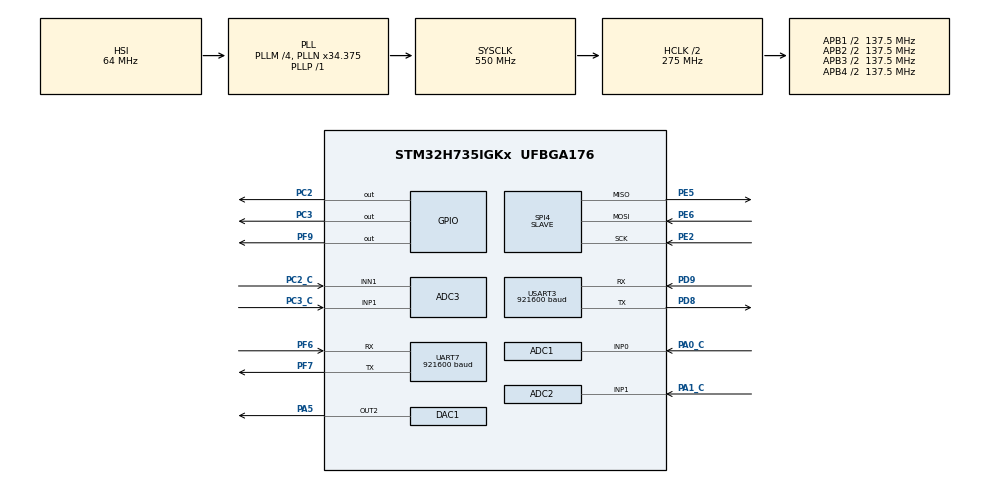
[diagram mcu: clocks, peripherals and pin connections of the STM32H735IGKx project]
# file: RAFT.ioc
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ADC1.Channel-3\#ChannelRegularConversion=ADC_CHANNEL_0
ADC1.ClockPrescalerADC3=ADC_CLOCK_ASYNC_DIV2
ADC1.ContinuousConvMode=ENABLE
ADC1.ConversionDataManagement=ADC_CONVERSIONDATA_DMA_CIRCULAR
ADC1.ExternalTrigConv=ADC_EXTERNALTRIG_T2_TRGO
ADC1.Mode=ADC_DUALMODE_REGSIMULT
ADC1.NbrOfConversion=1
ADC1.NbrOfConversionFlag=1
ADC1.OffsetNumber-3\#ChannelRegularConversion=ADC_OFFSET_NONE
ADC1.OffsetSignedSaturation-3\#ChannelRegularConversion=DISABLE
ADC1.Rank-3\#ChannelRegularConversion=1
ADC1.Resolution=ADC_RESOLUTION_14B
ADC1.SamplingTime-3\#ChannelRegularConversion=ADC_SAMPLETIME_1CYCLE_5
ADC1.master=1
ADC2.Channel-2\#ChannelRegularConversion=ADC_CHANNEL_1
ADC2.ConversionDataManagement=ADC_CONVERSIONDATA_DMA_CIRCULAR
ADC2.Mode=ADC_DUALMODE_REGSIMULT
ADC2.NbrOfConversionFlag=1
ADC2.OffsetNumber-2\#ChannelRegularConversion=ADC_OFFSET_NONE
ADC2.OffsetSignedSaturation-2\#ChannelRegularConversion=DISABLE
ADC2.Rank-2\#ChannelRegularConversion=1
ADC2.SamplingTime-2\#ChannelRegularConversion=ADC_SAMPLETIME_1CYCLE_5
ADC3.Channel-1\#ChannelRegularConversion=ADC_CHANNEL_1
ADC3.ClockPrescalerADC3=ADC_CLOCK_ASYNC_DIV2
ADC3.ContinuousConvMode=ENABLE
ADC3.ConversionDataManagement=ADC_CONVERSIONDATA_DMA_CIRCULAR
ADC3.DMAContinuousRequests=ENABLE
ADC3.ExternalTrigConv=ADC_EXTERNALTRIG_T2_TRGO
ADC3.Mode=ADC_DUALMODE_REGSIMULT
ADC3.NbrOfConversionFlag=1
ADC3.OffsetNumber-1\#ChannelRegularConversion=ADC_OFFSET_NONE
ADC3.OffsetSign-1\#ChannelRegularConversion=ADC3_OFFSET_SIGN_NEGATIVE
ADC3.Rank-1\#ChannelRegularConversion=1
ADC3.SamplingTime-1\#ChannelRegularConversion=ADC3_SAMPLETIME_2CYCLES_5
ADC3.SingleDiff-1\#ChannelRegularConversion=ADC_DIFFERENTIAL_ENDED
DAC1.DAC_Channel-DAC_OUT2=DAC_CHANNEL_2
Dma.ADC1.1.Direction=DMA_PERIPH_TO_MEMORY
Dma.ADC1.1.EventEnable=DISABLE
Dma.ADC1.1.FIFOMode=DMA_FIFOMODE_DISABLE
Dma.ADC1.1.Instance=DMA1_Stream0
Dma.ADC1.1.MemDataAlignment=DMA_MDATAALIGN_WORD
Dma.ADC1.1.MemInc=DMA_MINC_ENABLE
Dma.ADC1.1.Mode=DMA_CIRCULAR
Dma.ADC1.1.PeriphDataAlignment=DMA_PDATAALIGN_WORD
Dma.ADC1.1.PeriphInc=DMA_PINC_DISABLE
Dma.ADC1.1.Polarity=HAL_DMAMUX_REQ_GEN_RISING
Dma.ADC1.1.Priority=DMA_PRIORITY_LOW
Dma.ADC1.1.RequestNumber=1
Dma.ADC1.1.SignalID=NONE
Dma.ADC1.1.SyncEnable=DISABLE
Dma.ADC1.1.SyncPolarity=HAL_DMAMUX_SYNC_NO_EVENT
Dma.ADC1.1.SyncRequestNumber=1
Dma.ADC1.1.SyncSignalID=NONE
Dma.ADC2.3.Direction=DMA_PERIPH_TO_MEMORY
Dma.ADC2.3.EventEnable=DISABLE
Dma.ADC2.3.FIFOMode=DMA_FIFOMODE_DISABLE
Dma.ADC2.3.Instance=DMA1_Stream3
Dma.ADC2.3.MemDataAlignment=DMA_MDATAALIGN_WORD
Dma.ADC2.3.MemInc=DMA_MINC_ENABLE
Dma.ADC2.3.Mode=DMA_NORMAL
Dma.ADC2.3.PeriphDataAlignment=DMA_PDATAALIGN_WORD
Dma.ADC2.3.PeriphInc=DMA_PINC_DISABLE
Dma.ADC2.3.Polarity=HAL_DMAMUX_REQ_GEN_RISING
Dma.ADC2.3.Priority=DMA_PRIORITY_LOW
Dma.ADC2.3.RequestNumber=1
Dma.ADC2.3.SignalID=NONE
Dma.ADC2.3.SyncEnable=DISABLE
Dma.ADC2.3.SyncPolarity=HAL_DMAMUX_SYNC_NO_EVENT
Dma.ADC2.3.SyncRequestNumber=1
Dma.ADC2.3.SyncSignalID=NONE
Dma.ADC3.2.Direction=DMA_PERIPH_TO_MEMORY
Dma.ADC3.2.EventEnable=DISABLE
Dma.ADC3.2.FIFOMode=DMA_FIFOMODE_DISABLE
Dma.ADC3.2.Instance=DMA1_Stream2
Dma.ADC3.2.MemDataAlignment=DMA_MDATAALIGN_WORD
Dma.ADC3.2.MemInc=DMA_MINC_ENABLE
Dma.ADC3.2.Mode=DMA_CIRCULAR
Dma.ADC3.2.PeriphDataAlignment=DMA_PDATAALIGN_WORD
Dma.ADC3.2.PeriphInc=DMA_PINC_DISABLE
Dma.ADC3.2.Polarity=HAL_DMAMUX_REQ_GEN_RISING
Dma.ADC3.2.Priority=DMA_PRIORITY_LOW
Dma.ADC3.2.RequestNumber=1
Dma.ADC3.2.SignalID=NONE
Dma.ADC3.2.SyncEnable=DISABLE
Dma.ADC3.2.SyncPolarity=HAL_DMAMUX_SYNC_NO_EVENT
Dma.ADC3.2.SyncRequestNumber=1
Dma.ADC3.2.SyncSignalID=NONE
Dma.HASH_IN.0.Direction=DMA_MEMORY_TO_PERIPH
Dma.HASH_IN.0.EventEnable=DISABLE
Dma.HASH_IN.0.FIFOMode=DMA_FIFOMODE_DISABLE
Dma.HASH_IN.0.Instance=DMA1_Stream1
Dma.HASH_IN.0.MemDataAlignment=DMA_MDATAALIGN_WORD
Dma.HASH_IN.0.MemInc=DMA_MINC_ENABLE
Dma.HASH_IN.0.Mode=DMA_NORMAL
Dma.HASH_IN.0.PeriphDataAlignment=DMA_PDATAALIGN_WORD
Dma.HASH_IN.0.PeriphInc=DMA_PINC_DISABLE
Dma.HASH_IN.0.Polarity=HAL_DMAMUX_REQ_GEN_RISING
Dma.HASH_IN.0.Priority=DMA_PRIORITY_LOW
Dma.HASH_IN.0.RequestNumber=1
Dma.HASH_IN.0.SignalID=NONE
Dma.HASH_IN.0.SyncEnable=DISABLE
Dma.HASH_IN.0.SyncPolarity=HAL_DMAMUX_SYNC_NO_EVENT
Dma.HASH_IN.0.SyncRequestNumber=1
Dma.HASH_IN.0.SyncSignalID=NONE
Dma.Request0=HASH_IN
Dma.Request1=ADC1
Dma.Request2=ADC3
Dma.Request3=ADC2
HASH.SecureHashAlgorithmType=SHA256
HASH.pKey=__NULL
Mcu.Family=STM32H7
Mcu.Name=STM32H735IGKx
Mcu.Package=UFBGA176
NVIC.DMA1_Stream0_IRQn=true\:0\:0\:false\:false\:true\:false\:true\:true
NVIC.DMA1_Stream1_IRQn=true\:0\:0\:false\:false\:true\:false\:true\:true
NVIC.DMA1_Stream2_IRQn=true\:0\:0\:false\:false\:true\:false\:true\:true
NVIC.DMA1_Stream3_IRQn=true\:0\:0\:false\:false\:true\:false\:true\:true
NVIC.PriorityGroup=NVIC_PRIORITYGROUP_4
NVIC.TIM2_IRQn=true\:0\:0\:false\:false\:true\:true\:true\:true
NVIC.TIM3_IRQn=true\:0\:0\:false\:false\:true\:true\:true\:true
PA0_C.Signal=ADCx_INP0
PA1_C.Signal=ADCx_INP1
PA5.Signal=COMP_DAC12_group
PC2.Signal=GPIO_Output
PC2_C.Mode=IN1-Differential
PC2_C.Signal=ADC3_INN1
PC3.Signal=GPIO_Output
PC3_C.Mode=IN1-Differential
PC3_C.Signal=ADC3_INP1
PD8.Mode=Asynchronous
PD8.Signal=USART3_TX
PD9.Mode=Asynchronous
PD9.Signal=USART3_RX
PE2.Mode=Full_Duplex_Slave
PE2.Signal=SPI4_SCK
PE5.Mode=Full_Duplex_Slave
PE5.Signal=SPI4_MISO
PE6.Mode=Full_Duplex_Slave
PE6.Signal=SPI4_MOSI
PF6.Mode=Asynchronous
PF6.Signal=UART7_RX
PF7.Mode=Asynchronous
PF7.Signal=UART7_TX
PF9.Signal=GPIO_Output
ProjectManager.HeapSize=0x200
ProjectManager.StackSize=0x400
ProjectManager.TargetToolchain=STM32CubeIDE
RCC.ADCFreq_Value=96000000
RCC.APB1Freq_Value=137500000
RCC.APB2Freq_Value=137500000
RCC.APB3Freq_Value=137500000
RCC.APB4Freq_Value=137500000
RCC.CortexFreq_Value=550000000
RCC.D1PPRE=RCC_APB3_DIV2
RCC.D2PPRE1=RCC_APB1_DIV2
RCC.D2PPRE2=RCC_APB2_DIV2
RCC.D3PPRE=RCC_APB4_DIV2
RCC.DIVM1=4
RCC.DIVM2=4
RCC.DIVM3=4
RCC.DIVN1=34
RCC.DIVN2=12
RCC.DIVN3=12
RCC.DIVP1=1
RCC.DIVQ3=1
RCC.HCLKFreq_Value=275000000
RCC.HPRE=RCC_HCLK_DIV2
RCC.PLL2FRACN=0
RCC.PLL3FRACN=0
RCC.PLLFRACN=3072
RCC.SYSCLKFreq_VALUE=550000000
RCC.SYSCLKSource=RCC_SYSCLKSOURCE_PLLCLK
RCC.Spi45ClockSelection=RCC_SPI45CLKSOURCE_PLL3
RCC.SupplySource=PWR_DIRECT_SMPS_SUPPLY
RCC.USBCLockSelection=RCC_USBCLKSOURCE_HSI48
RCC.USBFreq_Value=48000000
SH.ADCx_INP0.0=ADC1_INP0,IN0-Single-Ended
SH.ADCx_INP1.0=ADC2_INP1,IN1-Single-Ended
SH.COMP_DAC12_group.0=DAC1_OUT2,DAC_OUT2
SPI4.Direction=SPI_DIRECTION_2LINES
SPI4.Mode=SPI_MODE_SLAVE
SPI4.VirtualType=VM_SLAVE
TIM2.AutoReloadPreload=TIM_AUTORELOAD_PRELOAD_ENABLE
TIM2.Period=65535
TIM2.Prescaler=1
TIM2.TIM_MasterOutputTrigger=TIM_TRGO_UPDATE
TIM3.AutoReloadPreload=TIM_AUTORELOAD_PRELOAD_ENABLE
TIM3.Prescaler=10
TIM4.AutoReloadPreload=TIM_AUTORELOAD_PRELOAD_ENABLE
TIM4.Prescaler=10
UART7.BaudRate=921600
USART3.BaudRate=921600
USART3.VirtualMode-Asynchronous=VM_ASYNC
VP_HASH_VS_HASH.Mode=HASH_Activate
VP_MEMORYMAP_VS_MEMORYMAP.Mode=CurAppReg
VP_TIM2_VS_ClockSourceINT.Mode=Internal
VP_TIM3_VS_ClockSourceINT.Mode=Internal
VP_TIM4_VS_ClockSourceINT.Mode=Internal
VREF+.Mode=InternalMode
VREF+.Signal=VREFBUF_OUT
VREFBUF.VoltageScaling=SYSCFG_VREFBUF_VOLTAGE_SCALE2
board=STM32H735G-DK

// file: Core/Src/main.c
/* USER CODE BEGIN Header */
/**
  ******************************************************************************
  * @file           : main.c
  * @brief          : Main program body
  ******************************************************************************
  * @attention
  *
  * Copyright (c) 2024 STMicroelectronics.
  * All rights reserved.
  *
  * This software is licensed under terms that can be found in the LICENSE file
  * in the root directory of this software component.
  * If no LICENSE file comes with this software, it is provided AS-IS.
  *
  ******************************************************************************
  */
/* USER CODE END Header */
#include "main.h"

/* USER CODE BEGIN Includes */

#include "common.h"

/* USER CODE END Includes */

/* USER CODE BEGIN PD */

#ifndef HSEM_ID_0
#define HSEM_ID_0 (0U) /* HW semaphore 0*/
#endif
/* USER CODE END PD */

ADC_HandleTypeDef hadc1;
ADC_HandleTypeDef hadc2;
ADC_HandleTypeDef hadc3;
DMA_HandleTypeDef hdma_adc1;
DMA_HandleTypeDef hdma_adc2;
DMA_HandleTypeDef hdma_adc3;

DAC_HandleTypeDef hdac1;

HASH_HandleTypeDef hhash;
DMA_HandleTypeDef hdma_hash_in;

SPI_HandleTypeDef hspi4;

TIM_HandleTypeDef htim2;
TIM_HandleTypeDef htim3;
TIM_HandleTypeDef htim4;

UART_HandleTypeDef huart7;
UART_HandleTypeDef huart3;

/* USER CODE BEGIN PV */

#define SPI_TRANSFER_COMPLETE 1
#define SPI_TRANSFER_WAIT 2
#define SPI_ERROR 3

uint8_t spi_transfer_state = SPI_TRANSFER_WAIT ;

static uint16_t adc_buffer_size_watch;

uint16_t ADC1_reading =0;
uint16_t ADC2_reading =0;

HASH_HandleTypeDef hhash;

#define FIXED_FRAME_SZIE 4096
uint8_t fixed_frame[FIXED_FRAME_SZIE];
uint8_t input_message_buffer[65535] ={0x5,0x6 ,0x8,0XFF,0XFF,0XFF,0XFF,0XFF,0XFF,0XFF,0XFF,0XFF};
uint8_t message_digest[64]={0};
HAL_StatusTypeDef HAL_status;
//HAL_StatusTypeDef spi_status;
#define TX_SIZE 2048
  uint8_t TxData[TX_SIZE];
  uint8_t start_byte =START_BYTE;
  uint8_t stop_byte  =END_BYTE;
uint8_t HAL_error_status = 0;

#define RAW_DATA

/* USER CODE END PV */

void SystemClock_Config(void);
void PeriphCommonClock_Config(void);
static void MX_GPIO_Init(void);
static void MX_DMA_Init(void);
static void MX_ADC1_Init(void);
static void MX_HASH_Init(void);
static void MX_TIM2_Init(void);
static void MX_UART7_Init(void);
static void MX_ADC3_Init(void);
static void MX_USART3_UART_Init(void);
static void MX_DAC1_Init(void);
static void MX_TIM3_Init(void);
static void MX_SPI4_Init(void);
static void MX_ADC2_Init(void);
static void MX_TIM4_Init(void);
/* USER CODE BEGIN PFP */

void HAL_HASH_MspInit(HASH_HandleTypeDef *hhash);
void HASH_Init();
void my_HAL_HASH_InCpltCallback (HASH_HandleTypeDef * hhash);
void HAL_DMA_ConvCpltCallback(DMA_HandleTypeDef *hdma);
void my_HAL_HASH_DgstCpltCallback (HASH_HandleTypeDef * hhash);
//void HAl_TIM_intit();
void GPIO_INIT();
void MY_USART1_USART_Init(void);
int8_t CDC_is_busy(void);
void start_ADCS();

/* USER CODE END PFP */

int main(void)
{

  /* USER CODE BEGIN 1 */

#ifdef HAHSED_DATA
	uint16_t input_vector[96]={0};
	uint16_t input_vector_size_in_bytes =0;
#endif

  /* USER CODE END 1 */

  /* MCU Configuration--------------------------------------------------------*/

  /* Reset of all peripherals, Initializes the Flash interface and the Systick. */
  HAL_Init();

  /* Configure the system clock */
  SystemClock_Config();

  /* Configure the peripherals common clocks */
  PeriphCommonClock_Config();

  /* USER CODE BEGIN SysInit */

GPIO_INIT();
//HAl_TIM_intit();
//HASH_Init();

  /* USER CODE END SysInit */

  /* Initialize all configured peripherals */
  MX_GPIO_Init();
  MX_DMA_Init();
  MX_ADC1_Init();
  MX_HASH_Init();
  MX_TIM2_Init();
  MX_UART7_Init();
  MX_ADC3_Init();
  MX_USART3_UART_Init();
  MX_DAC1_Init();
  MX_TIM3_Init();
  MX_SPI4_Init();
  MX_ADC2_Init();
  MX_TIM4_Init();
  /* USER CODE BEGIN 2 */
HAL_GPIO_WritePin(GPIOK, GPIO_PIN_3,GPIO_PIN_SET);
HAL_GPIO_WritePin(GPIOK, GPIO_PIN_4,GPIO_PIN_SET);

// set the SPI Test fixed frame

uint16_t DAC_set_value =0;

fixed_frame[0]= 0xAA;
fixed_frame[FIXED_FRAME_SZIE-1]=0xCC;

uart_frame[0] = 0xAA;
uart_frame[1] = 0xAA;
uart_frame[ADC_TRANSFER_SIZE+2] = 0xCC;
uart_frame[ADC_TRANSFER_SIZE+3] = 0xCC;
//for (int i = FIXED_FRAME_SZIE-2; i >= 1; i--) {
//
//	fixed_frame[i] =0xFF;
//
//  }

// register the SPI callbaks
//HAL_SPI_RegisterCallback(&hspi5, HAL_SPI_TX_COMPLETE_CB_ID , HAL_SPI_TxCpltCallback);
//HAL_SPI_RegisterCallback(&hspi5,   HAL_SPI_ERROR_CB_ID  , HAL_SPI_ErrorCallback);

if (HAL_TIM_Base_Start_IT(&htim3) != HAL_OK) {
    Error_Handler();
}
start_ADCS();

  /* USER CODE END 2 */

  /* Infinite loop */
  while (1)
  {

    /* USER CODE BEGIN 3 */

//	  	 HAL_GPIO_WritePin(GPIOK, GPIO_PIN_0,GPIO_PIN_SET);

//	 	 HAL_GPIO_WritePin(GPIOK, GPIO_PIN_0,GPIO_PIN_RESET);

#ifdef HAHSED_DATA

          // accumulate entropy and create input vector and calculate it's size
	 	  input_vector_size_in_bytes = Create_Input_Vector(input_vector);

	 	  // clean cache of the source(input_vector) into the memory before DMA transfer
	 	  SCB_CleanDCache_by_Addr((uint32_t*)input_vector, input_vector_size_in_bytes);

          // start DMA transfer from input vector into the HASH processor and intiate the hashing
	 	  HAL_status= HAL_HASHEx_SHA256_Start_DMA(&hhash, (uint8_t*)input_vector,input_vector_size_in_bytes);

	 	  //Retreive calculated digest from the HASH registers into the processed data buffer
	 	  HAL_status = HAL_HASHEx_SHA256_Finish (&hhash,current_post_processed_data_ptr,100);

	 	  // increment the buffer pointer to point to the next available space in the buffer for the new digest to come
	 	  current_post_processed_data_ptr += OUTPUT_PACKET_SIZE;

	 	 //check if you filled the whole buffer(reached it's end ) then send data through high speed USB and reset the pointer to point to the start of the buffer
	 	 if(current_post_processed_data_ptr>= (post_processed_data_buffer+post_processed_data_buffer_size) ){

	 		 		 	 HAL_SPI_Transmit_DMA ( &hspi5,post_processed_data_buffer,post_processed_data_buffer_size);
	 		 		 	 current_post_processed_data_ptr =post_processed_data_buffer;
	 		 		}

	 	  HAL_GPIO_WritePin(GPIOK, GPIO_PIN_3, RESET);

#endif

//	 	 if (CDC_is_busy() == 0)
//	 	 	{
//
//	 	 CDC_Transmit_HS(input_message_buffer,65535);
//
//	 	 	}

#ifdef RAW_DATA

	 		buffer_copy(uart_frame+2 ,(uint8_t*)ADC_buffer_entropy,ADC_TRANSFER_SIZE);
	 		HAL_UART_Transmit (&huart7,uart_frame ,UART_FRAME_SIZE,100);
//	 		HAL_UART_Transmit (&huart3,uart_frame ,UART_FRAME_SIZE,100);
	 		HAL_Delay(10);

////if(ADC_buffer_status == ADC_BUFFER_READY /*&& CDC_is_busy() == 0*/){
////
////         ADC_buffer_status = ADC_BUFFER_EMPTY;
	 // 	 CDC_Transmit_HS((uint8_t*)ADC_buffer,sizeof(ADC_buffer));dM
//                spi_transfer_state =SPI_TRANSFER_WAIT;
//                HAL_status = HAL_SPI_Transmit_DMA (&hspi5,(uint8_t*)fixed_frame,FIXED_FRAME_SZIE);
//                while (spi_transfer_state != SPI_TRANSFER_COMPLETE){
//
//                	// DO nothing , wait for SPI tansfer to finish ..
//                }
////                 if(HAL_status!= HAL_OK){
//               	 Error_Handler();
//                }
//                 if (hspi5.ErrorCode != HAL_SPI_ERROR_NONE){
//                	 Error_Handler();
//                 }
//            	 HAL_GPIO_TogglePin(GPIOF, GPIO_PIN_7);
//            	 HAL_Delay(10);

//}
#endif

  }
  /* USER CODE END 3 */
}

void SystemClock_Config(void)
{
  RCC_OscInitTypeDef RCC_OscInitStruct = {0};
  RCC_ClkInitTypeDef RCC_ClkInitStruct = {0};

  /** Supply configuration update enable
  */
  HAL_PWREx_ConfigSupply(PWR_DIRECT_SMPS_SUPPLY);

  /** Configure the main internal regulator output voltage
  */
  __HAL_PWR_VOLTAGESCALING_CONFIG(PWR_REGULATOR_VOLTAGE_SCALE0);

  while(!__HAL_PWR_GET_FLAG(PWR_FLAG_VOSRDY)) {}

  /** Initializes the RCC Oscillators according to the specified parameters
  * in the RCC_OscInitTypeDef structure.
  */
  RCC_OscInitStruct.OscillatorType = RCC_OSCILLATORTYPE_HSI;
  RCC_OscInitStruct.HSIState = RCC_HSI_DIV1;
  RCC_OscInitStruct.HSICalibrationValue = 64;
  RCC_OscInitStruct.PLL.PLLState = RCC_PLL_ON;
  RCC_OscInitStruct.PLL.PLLSource = RCC_PLLSOURCE_HSI;
  RCC_OscInitStruct.PLL.PLLM = 4;
  RCC_OscInitStruct.PLL.PLLN = 34;
  RCC_OscInitStruct.PLL.PLLP = 1;
  RCC_OscInitStruct.PLL.PLLQ = 2;
  RCC_OscInitStruct.PLL.PLLR = 2;
  RCC_OscInitStruct.PLL.PLLRGE = RCC_PLL1VCIRANGE_3;
  RCC_OscInitStruct.PLL.PLLVCOSEL = RCC_PLL1VCOWIDE;
  RCC_OscInitStruct.PLL.PLLFRACN = 3072;
  if (HAL_RCC_OscConfig(&RCC_OscInitStruct) != HAL_OK)
  {
    Error_Handler();
  }

  /** Initializes the CPU, AHB and APB buses clocks
  */
  RCC_ClkInitStruct.ClockType = RCC_CLOCKTYPE_HCLK|RCC_CLOCKTYPE_SYSCLK
                              |RCC_CLOCKTYPE_PCLK1|RCC_CLOCKTYPE_PCLK2
                              |RCC_CLOCKTYPE_D3PCLK1|RCC_CLOCKTYPE_D1PCLK1;
  RCC_ClkInitStruct.SYSCLKSource = RCC_SYSCLKSOURCE_PLLCLK;
  RCC_ClkInitStruct.SYSCLKDivider = RCC_SYSCLK_DIV1;
  RCC_ClkInitStruct.AHBCLKDivider = RCC_HCLK_DIV2;
  RCC_ClkInitStruct.APB3CLKDivider = RCC_APB3_DIV2;
  RCC_ClkInitStruct.APB1CLKDivider = RCC_APB1_DIV2;
  RCC_ClkInitStruct.APB2CLKDivider = RCC_APB2_DIV2;
  RCC_ClkInitStruct.APB4CLKDivider = RCC_APB4_DIV2;

  if (HAL_RCC_ClockConfig(&RCC_ClkInitStruct, FLASH_LATENCY_3) != HAL_OK)
  {
    Error_Handler();
  }
}

void PeriphCommonClock_Config(void)
{
  RCC_PeriphCLKInitTypeDef PeriphClkInitStruct = {0};

  /** Initializes the peripherals clock
  */
  PeriphClkInitStruct.PeriphClockSelection = RCC_PERIPHCLK_ADC;
  PeriphClkInitStruct.PLL2.PLL2M = 4;
  PeriphClkInitStruct.PLL2.PLL2N = 12;
  PeriphClkInitStruct.PLL2.PLL2P = 2;
  PeriphClkInitStruct.PLL2.PLL2Q = 2;
  PeriphClkInitStruct.PLL2.PLL2R = 2;
  PeriphClkInitStruct.PLL2.PLL2RGE = RCC_PLL2VCIRANGE_3;
  PeriphClkInitStruct.PLL2.PLL2VCOSEL = RCC_PLL2VCOWIDE;
  PeriphClkInitStruct.PLL2.PLL2FRACN = 0;
  PeriphClkInitStruct.AdcClockSelection = RCC_ADCCLKSOURCE_PLL2;
  if (HAL_RCCEx_PeriphCLKConfig(&PeriphClkInitStruct) != HAL_OK)
  {
    Error_Handler();
  }
}

static void MX_ADC1_Init(void)
{

  ADC_MultiModeTypeDef multimode = {0};
  ADC_ChannelConfTypeDef sConfig = {0};

  /** Common config
  */
  hadc1.Instance = ADC1;
  hadc1.Init.ClockPrescaler = ADC_CLOCK_ASYNC_DIV1;
  hadc1.Init.Resolution = ADC_RESOLUTION_14B;
  hadc1.Init.ScanConvMode = ADC_SCAN_DISABLE;
  hadc1.Init.EOCSelection = ADC_EOC_SINGLE_CONV;
  hadc1.Init.LowPowerAutoWait = DISABLE;
  hadc1.Init.ContinuousConvMode = ENABLE;
  hadc1.Init.NbrOfConversion = 1;
  hadc1.Init.DiscontinuousConvMode = DISABLE;
  hadc1.Init.ExternalTrigConv = ADC_EXTERNALTRIG_T2_TRGO;
  hadc1.Init.ExternalTrigConvEdge = ADC_EXTERNALTRIGCONVEDGE_RISING;
  hadc1.Init.ConversionDataManagement = ADC_CONVERSIONDATA_DMA_CIRCULAR;
  hadc1.Init.Overrun = ADC_OVR_DATA_PRESERVED;
  hadc1.Init.LeftBitShift = ADC_LEFTBITSHIFT_NONE;
  hadc1.Init.OversamplingMode = DISABLE;
  hadc1.Init.Oversampling.Ratio = 1;
  if (HAL_ADC_Init(&hadc1) != HAL_OK)
  {
    Error_Handler();
  }

  /** Configure the ADC multi-mode
  */
  multimode.Mode = ADC_DUALMODE_REGSIMULT;
  multimode.DualModeData = ADC_DUALMODEDATAFORMAT_32_10_BITS;
  multimode.TwoSamplingDelay = ADC_TWOSAMPLINGDELAY_1CYCLE;
  if (HAL_ADCEx_MultiModeConfigChannel(&hadc1, &multimode) != HAL_OK)
  {
    Error_Handler();
  }

  /** Configure Regular Channel
  */
  sConfig.Channel = ADC_CHANNEL_0;
  sConfig.Rank = ADC_REGULAR_RANK_1;
  sConfig.SamplingTime = ADC_SAMPLETIME_1CYCLE_5;
  sConfig.SingleDiff = ADC_SINGLE_ENDED;
  sConfig.OffsetNumber = ADC_OFFSET_NONE;
  sConfig.Offset = 0;
  sConfig.OffsetSignedSaturation = DISABLE;
  if (HAL_ADC_ConfigChannel(&hadc1, &sConfig) != HAL_OK)
  {
    Error_Handler();
  }

}

static void MX_ADC2_Init(void)
{

  ADC_ChannelConfTypeDef sConfig = {0};

  /** Common config
  */
  hadc2.Instance = ADC2;
  hadc2.Init.ClockPrescaler = ADC_CLOCK_ASYNC_DIV1;
  hadc2.Init.Resolution = ADC_RESOLUTION_16B;
  hadc2.Init.ScanConvMode = ADC_SCAN_DISABLE;
  hadc2.Init.EOCSelection = ADC_EOC_SINGLE_CONV;
  hadc2.Init.LowPowerAutoWait = DISABLE;
  hadc2.Init.ContinuousConvMode = ENABLE;
  hadc2.Init.NbrOfConversion = 1;
  hadc2.Init.DiscontinuousConvMode = DISABLE;
  hadc2.Init.ConversionDataManagement = ADC_CONVERSIONDATA_DMA_CIRCULAR;
  hadc2.Init.Overrun = ADC_OVR_DATA_PRESERVED;
  hadc2.Init.LeftBitShift = ADC_LEFTBITSHIFT_NONE;
  hadc2.Init.OversamplingMode = DISABLE;
  hadc2.Init.Oversampling.Ratio = 1;
  if (HAL_ADC_Init(&hadc2) != HAL_OK)
  {
    Error_Handler();
  }

  /** Configure Regular Channel
  */
  sConfig.Channel = ADC_CHANNEL_1;
  sConfig.Rank = ADC_REGULAR_RANK_1;
  sConfig.SamplingTime = ADC_SAMPLETIME_1CYCLE_5;
  sConfig.SingleDiff = ADC_SINGLE_ENDED;
  sConfig.OffsetNumber = ADC_OFFSET_NONE;
  sConfig.Offset = 0;
  sConfig.OffsetSignedSaturation = DISABLE;
  if (HAL_ADC_ConfigChannel(&hadc2, &sConfig) != HAL_OK)
  {
    Error_Handler();
  }

}

static void MX_ADC3_Init(void)
{

  ADC_ChannelConfTypeDef sConfig = {0};

  /** Common config
  */
  hadc3.Instance = ADC3;
  hadc3.Init.ClockPrescaler = ADC_CLOCK_ASYNC_DIV2;
  hadc3.Init.Resolution = ADC_RESOLUTION_12B;
  hadc3.Init.DataAlign = ADC3_DATAALIGN_RIGHT;
  hadc3.Init.ScanConvMode = ADC_SCAN_DISABLE;
  hadc3.Init.EOCSelection = ADC_EOC_SINGLE_CONV;
  hadc3.Init.LowPowerAutoWait = DISABLE;
  hadc3.Init.ContinuousConvMode = ENABLE;
  hadc3.Init.NbrOfConversion = 1;
  hadc3.Init.DiscontinuousConvMode = DISABLE;
  hadc3.Init.ExternalTrigConv = ADC_EXTERNALTRIG_T2_TRGO;
  hadc3.Init.ExternalTrigConvEdge = ADC_EXTERNALTRIGCONVEDGE_RISING;
  hadc3.Init.DMAContinuousRequests = ENABLE;
  hadc3.Init.SamplingMode = ADC_SAMPLING_MODE_NORMAL;
  hadc3.Init.ConversionDataManagement = ADC_CONVERSIONDATA_DMA_CIRCULAR;
  hadc3.Init.Overrun = ADC_OVR_DATA_PRESERVED;
  hadc3.Init.LeftBitShift = ADC_LEFTBITSHIFT_NONE;
  hadc3.Init.OversamplingMode = DISABLE;
  hadc3.Init.Oversampling.Ratio = ADC3_OVERSAMPLING_RATIO_2;
  if (HAL_ADC_Init(&hadc3) != HAL_OK)
  {
    Error_Handler();
  }

  /** Configure Regular Channel
  */
  sConfig.Channel = ADC_CHANNEL_1;
  sConfig.Rank = ADC_REGULAR_RANK_1;
  sConfig.SamplingTime = ADC3_SAMPLETIME_2CYCLES_5;
  sConfig.SingleDiff = ADC_DIFFERENTIAL_ENDED;
  sConfig.OffsetNumber = ADC_OFFSET_NONE;
  sConfig.Offset = 0;
  sConfig.OffsetSign = ADC3_OFFSET_SIGN_NEGATIVE;
  if (HAL_ADC_ConfigChannel(&hadc3, &sConfig) != HAL_OK)
  {
    Error_Handler();
  }

}

static void MX_DAC1_Init(void)
{

  DAC_ChannelConfTypeDef sConfig = {0};

  /** DAC Initialization
  */
  hdac1.Instance = DAC1;
  if (HAL_DAC_Init(&hdac1) != HAL_OK)
  {
    Error_Handler();
  }

  /** DAC channel OUT2 config
  */
  sConfig.DAC_SampleAndHold = DAC_SAMPLEANDHOLD_DISABLE;
  sConfig.DAC_Trigger = DAC_TRIGGER_NONE;
  sConfig.DAC_OutputBuffer = DAC_OUTPUTBUFFER_ENABLE;
  sConfig.DAC_ConnectOnChipPeripheral = DAC_CHIPCONNECT_DISABLE;
  sConfig.DAC_UserTrimming = DAC_TRIMMING_FACTORY;
  if (HAL_DAC_ConfigChannel(&hdac1, &sConfig, DAC_CHANNEL_2) != HAL_OK)
  {
    Error_Handler();
  }

}

static void MX_HASH_Init(void)
{

  hhash.Init.DataType = HASH_DATATYPE_32B;
  if (HAL_HASH_Init(&hhash) != HAL_OK)
  {
    Error_Handler();
  }

}

static void MX_SPI4_Init(void)
{

  /* SPI4 parameter configuration*/
  hspi4.Instance = SPI4;
  hspi4.Init.Mode = SPI_MODE_SLAVE;
  hspi4.Init.Direction = SPI_DIRECTION_2LINES;
  hspi4.Init.DataSize = SPI_DATASIZE_4BIT;
  hspi4.Init.CLKPolarity = SPI_POLARITY_LOW;
  hspi4.Init.CLKPhase = SPI_PHASE_1EDGE;
  hspi4.Init.NSS = SPI_NSS_SOFT;
  hspi4.Init.FirstBit = SPI_FIRSTBIT_MSB;
  hspi4.Init.TIMode = SPI_TIMODE_DISABLE;
  hspi4.Init.CRCCalculation = SPI_CRCCALCULATION_DISABLE;
  hspi4.Init.CRCPolynomial = 0x0;
  hspi4.Init.NSSPMode = SPI_NSS_PULSE_DISABLE;
  hspi4.Init.NSSPolarity = SPI_NSS_POLARITY_LOW;
  hspi4.Init.FifoThreshold = SPI_FIFO_THRESHOLD_01DATA;
  hspi4.Init.TxCRCInitializationPattern = SPI_CRC_INITIALIZATION_ALL_ZERO_PATTERN;
  hspi4.Init.RxCRCInitializationPattern = SPI_CRC_INITIALIZATION_ALL_ZERO_PATTERN;
  hspi4.Init.MasterSSIdleness = SPI_MASTER_SS_IDLENESS_00CYCLE;
  hspi4.Init.MasterInterDataIdleness = SPI_MASTER_INTERDATA_IDLENESS_00CYCLE;
  hspi4.Init.MasterReceiverAutoSusp = SPI_MASTER_RX_AUTOSUSP_DISABLE;
  hspi4.Init.MasterKeepIOState = SPI_MASTER_KEEP_IO_STATE_DISABLE;
  hspi4.Init.IOSwap = SPI_IO_SWAP_DISABLE;
  if (HAL_SPI_Init(&hspi4) != HAL_OK)
  {
    Error_Handler();
  }

}

static void MX_TIM2_Init(void)
{

  TIM_ClockConfigTypeDef sClockSourceConfig = {0};
  TIM_MasterConfigTypeDef sMasterConfig = {0};

  htim2.Instance = TIM2;
  htim2.Init.Prescaler = 1;
  htim2.Init.CounterMode = TIM_COUNTERMODE_UP;
  htim2.Init.Period = 65535;
  htim2.Init.ClockDivision = TIM_CLOCKDIVISION_DIV1;
  htim2.Init.AutoReloadPreload = TIM_AUTORELOAD_PRELOAD_ENABLE;
  if (HAL_TIM_Base_Init(&htim2) != HAL_OK)
  {
    Error_Handler();
  }
  sClockSourceConfig.ClockSource = TIM_CLOCKSOURCE_INTERNAL;
  if (HAL_TIM_ConfigClockSource(&htim2, &sClockSourceConfig) != HAL_OK)
  {
    Error_Handler();
  }
  sMasterConfig.MasterOutputTrigger = TIM_TRGO_UPDATE;
  sMasterConfig.MasterSlaveMode = TIM_MASTERSLAVEMODE_DISABLE;
  if (HAL_TIMEx_MasterConfigSynchronization(&htim2, &sMasterConfig) != HAL_OK)
  {
    Error_Handler();
  }

}

static void MX_TIM3_Init(void)
{

  TIM_ClockConfigTypeDef sClockSourceConfig = {0};
  TIM_MasterConfigTypeDef sMasterConfig = {0};

  htim3.Instance = TIM3;
  htim3.Init.Prescaler = 10;
  htim3.Init.CounterMode = TIM_COUNTERMODE_UP;
  htim3.Init.Period = 65535;
  htim3.Init.ClockDivision = TIM_CLOCKDIVISION_DIV1;
  htim3.Init.AutoReloadPreload = TIM_AUTORELOAD_PRELOAD_ENABLE;
  if (HAL_TIM_Base_Init(&htim3) != HAL_OK)
  {
    Error_Handler();
  }
  sClockSourceConfig.ClockSource = TIM_CLOCKSOURCE_INTERNAL;
  if (HAL_TIM_ConfigClockSource(&htim3, &sClockSourceConfig) != HAL_OK)
  {
    Error_Handler();
  }
  sMasterConfig.MasterOutputTrigger = TIM_TRGO_RESET;
  sMasterConfig.MasterSlaveMode = TIM_MASTERSLAVEMODE_DISABLE;
  if (HAL_TIMEx_MasterConfigSynchronization(&htim3, &sMasterConfig) != HAL_OK)
  {
    Error_Handler();
  }

}

static void MX_TIM4_Init(void)
{

  TIM_ClockConfigTypeDef sClockSourceConfig = {0};
  TIM_MasterConfigTypeDef sMasterConfig = {0};

  htim4.Instance = TIM4;
  htim4.Init.Prescaler = 10;
  htim4.Init.CounterMode = TIM_COUNTERMODE_UP;
  htim4.Init.Period = 65535;
  htim4.Init.ClockDivision = TIM_CLOCKDIVISION_DIV1;
  htim4.Init.AutoReloadPreload = TIM_AUTORELOAD_PRELOAD_ENABLE;
  if (HAL_TIM_Base_Init(&htim4) != HAL_OK)
  {
    Error_Handler();
  }
  sClockSourceConfig.ClockSource = TIM_CLOCKSOURCE_INTERNAL;
  if (HAL_TIM_ConfigClockSource(&htim4, &sClockSourceConfig) != HAL_OK)
  {
    Error_Handler();
  }
  sMasterConfig.MasterOutputTrigger = TIM_TRGO_RESET;
  sMasterConfig.MasterSlaveMode = TIM_MASTERSLAVEMODE_DISABLE;
  if (HAL_TIMEx_MasterConfigSynchronization(&htim4, &sMasterConfig) != HAL_OK)
  {
    Error_Handler();
  }

}

static void MX_UART7_Init(void)
{

  huart7.Instance = UART7;
  huart7.Init.BaudRate = 921600;
  huart7.Init.WordLength = UART_WORDLENGTH_8B;
  huart7.Init.StopBits = UART_STOPBITS_1;
  huart7.Init.Parity = UART_PARITY_NONE;
  huart7.Init.Mode = UART_MODE_TX_RX;
  huart7.Init.HwFlowCtl = UART_HWCONTROL_NONE;
  huart7.Init.OverSampling = UART_OVERSAMPLING_16;
  huart7.Init.OneBitSampling = UART_ONE_BIT_SAMPLE_DISABLE;
  huart7.Init.ClockPrescaler = UART_PRESCALER_DIV1;
  huart7.AdvancedInit.AdvFeatureInit = UART_ADVFEATURE_NO_INIT;
  if (HAL_UART_Init(&huart7) != HAL_OK)
  {
    Error_Handler();
  }
  if (HAL_UARTEx_SetTxFifoThreshold(&huart7, UART_TXFIFO_THRESHOLD_1_8) != HAL_OK)
  {
    Error_Handler();
  }
  if (HAL_UARTEx_SetRxFifoThreshold(&huart7, UART_RXFIFO_THRESHOLD_1_8) != HAL_OK)
  {
    Error_Handler();
  }
  if (HAL_UARTEx_DisableFifoMode(&huart7) != HAL_OK)
  {
    Error_Handler();
  }

}

static void MX_USART3_UART_Init(void)
{

  huart3.Instance = USART3;
  huart3.Init.BaudRate = 921600;
  huart3.Init.WordLength = UART_WORDLENGTH_8B;
  huart3.Init.StopBits = UART_STOPBITS_1;
  huart3.Init.Parity = UART_PARITY_NONE;
  huart3.Init.Mode = UART_MODE_TX_RX;
  huart3.Init.HwFlowCtl = UART_HWCONTROL_NONE;
  huart3.Init.OverSampling = UART_OVERSAMPLING_16;
  huart3.Init.OneBitSampling = UART_ONE_BIT_SAMPLE_DISABLE;
  huart3.Init.ClockPrescaler = UART_PRESCALER_DIV1;
  huart3.AdvancedInit.AdvFeatureInit = UART_ADVFEATURE_NO_INIT;
  if (HAL_UART_Init(&huart3) != HAL_OK)
  {
    Error_Handler();
  }
  if (HAL_UARTEx_SetTxFifoThreshold(&huart3, UART_TXFIFO_THRESHOLD_1_8) != HAL_OK)
  {
    Error_Handler();
  }
  if (HAL_UARTEx_SetRxFifoThreshold(&huart3, UART_RXFIFO_THRESHOLD_1_8) != HAL_OK)
  {
    Error_Handler();
  }
  if (HAL_UARTEx_DisableFifoMode(&huart3) != HAL_OK)
  {
    Error_Handler();
  }

}

static void MX_DMA_Init(void)
{

  /* DMA controller clock enable */
  __HAL_RCC_DMA1_CLK_ENABLE();

  /* DMA interrupt init */
  /* DMA1_Stream0_IRQn interrupt configuration */
  HAL_NVIC_SetPriority(DMA1_Stream0_IRQn, 0, 0);
  HAL_NVIC_EnableIRQ(DMA1_Stream0_IRQn);
  /* DMA1_Stream1_IRQn interrupt configuration */
  HAL_NVIC_SetPriority(DMA1_Stream1_IRQn, 0, 0);
  HAL_NVIC_EnableIRQ(DMA1_Stream1_IRQn);
  /* DMA1_Stream2_IRQn interrupt configuration */
  HAL_NVIC_SetPriority(DMA1_Stream2_IRQn, 0, 0);
  HAL_NVIC_EnableIRQ(DMA1_Stream2_IRQn);
  /* DMA1_Stream3_IRQn interrupt configuration */
  HAL_NVIC_SetPriority(DMA1_Stream3_IRQn, 0, 0);
  HAL_NVIC_EnableIRQ(DMA1_Stream3_IRQn);

}

static void MX_GPIO_Init(void)
{
  GPIO_InitTypeDef GPIO_InitStruct = {0};

  /* GPIO Ports Clock Enable */
  __HAL_RCC_GPIOE_CLK_ENABLE();
  __HAL_RCC_GPIOF_CLK_ENABLE();
  __HAL_RCC_GPIOD_CLK_ENABLE();
  __HAL_RCC_GPIOC_CLK_ENABLE();
  __HAL_RCC_GPIOA_CLK_ENABLE();

  /*Configure GPIO pin Output Level */
  HAL_GPIO_WritePin(GPIOF, GPIO_PIN_9, GPIO_PIN_RESET);

  /*Configure GPIO pin Output Level */
  HAL_GPIO_WritePin(GPIOC, GPIO_PIN_2|GPIO_PIN_3, GPIO_PIN_RESET);

  /*Configure GPIO pin : PF9 */
  GPIO_InitStruct.Pin = GPIO_PIN_9;
  GPIO_InitStruct.Mode = GPIO_MODE_OUTPUT_PP;
  GPIO_InitStruct.Pull = GPIO_NOPULL;
  GPIO_InitStruct.Speed = GPIO_SPEED_FREQ_LOW;
  HAL_GPIO_Init(GPIOF, &GPIO_InitStruct);

  /*Configure GPIO pins : PC2 PC3 */
  GPIO_InitStruct.Pin = GPIO_PIN_2|GPIO_PIN_3;
  GPIO_InitStruct.Mode = GPIO_MODE_OUTPUT_PP;
  GPIO_InitStruct.Pull = GPIO_NOPULL;
  GPIO_InitStruct.Speed = GPIO_SPEED_FREQ_LOW;
  HAL_GPIO_Init(GPIOC, &GPIO_InitStruct);

}

/* USER CODE BEGIN 4 */

void GPIO_INIT(){

	 __HAL_RCC_GPIOK_CLK_ENABLE();
	 GPIO_InitTypeDef GPIO_InitStruct = {0};

	 /*Configure GPIO pin : MCO1_Pin */
	   GPIO_InitStruct.Pin = GPIO_PIN_3;
	   GPIO_InitStruct.Mode = GPIO_MODE_OUTPUT_PP;
	   GPIO_InitStruct.Pull = GPIO_NOPULL;
	   GPIO_InitStruct.Speed = GPIO_SPEED_FREQ_LOW;
	   HAL_GPIO_Init(GPIOK, &GPIO_InitStruct);

	   /*Configure GPIO pin : MCO1_Pin */
	   GPIO_InitStruct.Pin = GPIO_PIN_4;
	   GPIO_InitStruct.Mode = GPIO_MODE_OUTPUT_PP;
	   GPIO_InitStruct.Pull = GPIO_NOPULL;
	   GPIO_InitStruct.Speed = GPIO_SPEED_FREQ_LOW;
	   HAL_GPIO_Init(GPIOK, &GPIO_InitStruct);

	   /*Configure GPIO pin : MCO1_Pin */
	   GPIO_InitStruct.Pin = GPIO_PIN_5;
	   GPIO_InitStruct.Mode = GPIO_MODE_OUTPUT_PP;
	   GPIO_InitStruct.Pull = GPIO_NOPULL;
	   GPIO_InitStruct.Speed = GPIO_SPEED_FREQ_LOW;
	   HAL_GPIO_Init(GPIOK, &GPIO_InitStruct);

	   /*Configure GPIO pin : MCO1_Pin */
	   GPIO_InitStruct.Pin = GPIO_PIN_6;
	   GPIO_InitStruct.Mode = GPIO_MODE_OUTPUT_PP;
	   GPIO_InitStruct.Pull = GPIO_NOPULL;
	   GPIO_InitStruct.Speed = GPIO_SPEED_FREQ_LOW;
	   HAL_GPIO_Init(GPIOK, &GPIO_InitStruct);

	   GPIO_InitStruct.Pin = GPIO_PIN_0;
	   GPIO_InitStruct.Mode = GPIO_MODE_OUTPUT_PP;
	   GPIO_InitStruct.Pull = GPIO_PULLDOWN;
	   GPIO_InitStruct.Speed = GPIO_SPEED_FREQ_VERY_HIGH;
	   HAL_GPIO_Init(GPIOK, &GPIO_InitStruct);

}

//
//void my_HAL_HASH_InCpltCallback (HASH_HandleTypeDef * hhash){
//
//
//	HASH_buffer_status = HASH_buffer_Input_complete;
//
////	HAL_NVIC_EnableIRQ(HASH_RNG_IRQn);
//
//}
//void my_HAL_HASH_DgstCpltCallback (HASH_HandleTypeDef * hhash){
//
//
//
//
//}
//

void HAL_ADC_ConvHalfCpltCallback(ADC_HandleTypeDef *hadc){

	if (hadc == &hadc1){

		HAL_TIM_Base_Start(&htim3);
		__HAL_TIM_SET_COUNTER(&htim3, 0);
		 start_time_1 = __HAL_TIM_GET_COUNTER(&htim3);

	}

	if (hadc == &hadc3){

		HAL_TIM_Base_Start(&htim4);
		__HAL_TIM_SET_COUNTER(&htim4, 0);
		 start_time_2 = __HAL_TIM_GET_COUNTER(&htim4);

	}

//
//if (SCB->CCR & SCB_CCR_DC_Msk) {
//    // D-Cache is enabled
//	SCB_InvalidateDCache_by_Addr((uint32_t *) ADC_buffer_certification, ADC_BUFFER_SIZE*8);
//
//} else {
//    // D-Cache is disabled, do not clean/invalidate
//}

	ADC1_reading =  ADC_buffer_entropy[ADC_BUFFER_SIZE/2];
	ADC2_reading =	(ADC_buffer_entropy[ADC_BUFFER_SIZE/2]>>18)&0x0FFFF;
	//ADC3_reading = ADC_buffer_certification[ADC_BUFFER_SIZE/2 -1]& 0x0FFF;

//	ADC2_reading = certification_signal_extract(ADC_BUFFER_SIZE/2 -1);
//	HAL_GPIO_WritePin(GPIOK, GPIO_PIN_0,GPIO_PIN_SET);

//	 start_time= TIM2 -> CNT;

}

void HAL_ADC_ConvCpltCallback(ADC_HandleTypeDef* hadc)
{

	if (hadc == &hadc1){

		end_time_1 = __HAL_TIM_GET_COUNTER(&htim3);
		elapsed_time_1 = end_time_1 - start_time_1 ;

	}

	if (hadc == &hadc3){

		end_time_2 = __HAL_TIM_GET_COUNTER(&htim4);
		elapsed_time_2 = end_time_2 - start_time_2 ;

	}

//	if (SCB->CCR & SCB_CCR_DC_Msk) {
//	    // D-Cache is enabled
//		SCB_InvalidateDCache_by_Addr((uint32_t *) ADC_buffer_certification, ADC_BUFFER_SIZE*8);
//
//	} else {
//	    // D-Cache is disabled, do not clean/invalidate
//	}

#ifdef RAW_DATA

	 ADC_buffer_status= ADC_BUFFER_READY;

//	 CDC_Transmit_HS((uint8_t*)ADC_buffer, sizeof(ADC_buffer));

//	   HAL_GPIO_TogglePin(GPIOK, GPIO_PIN_0);

//	   end_time = TIM2 -> CNT;
//	   elapsed_time = end_time - start_time;

#endif

}

void HAL_TIM_PeriodElapsedCallback (TIM_HandleTypeDef * htim){

		static DAC_value =2400;
 		if (HAL_DAC_Start(&hdac1, DAC1_CHANNEL_2) != HAL_OK)
 		  {
 		    Error_Handler();
 		  }

// 		if(DAC_value == 4095){
//
// 			DAC_value =0;
// 		}
// 		else{
// 			DAC_value++;
// 		}

 		  if (HAL_DAC_SetValue(&hdac1, DAC1_CHANNEL_2, DAC_ALIGN_12B_R, DAC_value) != HAL_OK)
 		  {

 		    Error_Handler();

 		  }

}

void start_ADCS() {
    // Initialize the ADCs
    if (HAL_ADCEx_Calibration_Start(&hadc1, ADC_CALIB_OFFSET_LINEARITY, ADC_DIFFERENTIAL_ENDED) != HAL_OK) {
        Error_Handler();
    }

    if (HAL_ADCEx_Calibration_Start(&hadc3, ADC_CALIB_OFFSET_LINEARITY, ADC_DIFFERENTIAL_ENDED) != HAL_OK) {
        Error_Handler();
    }

    // Start DMA for ADCs
    if (HAL_ADCEx_MultiModeStart_DMA(&hadc1, ADC_buffer_entropy, ADC_BUFFER_SIZE) != HAL_OK) {
        Error_Handler();
    }

    HAL_error_status = HAL_ADC_Start_DMA(&hadc3, ADC_buffer_certification, ADC_BUFFER_SIZE);

    if ( HAL_error_status!= HAL_OK) {
        Error_Handler();
    }

//     Start TIM2 to trigger ADCs
    if (HAL_TIM_Base_Start(&htim2) != HAL_OK) {
        Error_Handler();
    }

    // Short delay to ensure ADCs are triggered
    HAL_Delay(1);

    // Stop TIM2 after the first trigger (if needed)
    HAL_TIM_Base_Stop(&htim2);
}
//void HAL_SPI_TxCpltCallback (SPI_HandleTypeDef * hspi){
//
//spi_transfer_state =SPI_TRANSFER_COMPLETE;
//
//
//}
//
//void HAL_SPI_ErrorCallback (SPI_HandleTypeDef * hspi){
//
//	Error_Handler();
//}

/* USER CODE END 4 */

void Error_Handler(void)
{
  __disable_irq();
  while (1)
  {
  }
}
